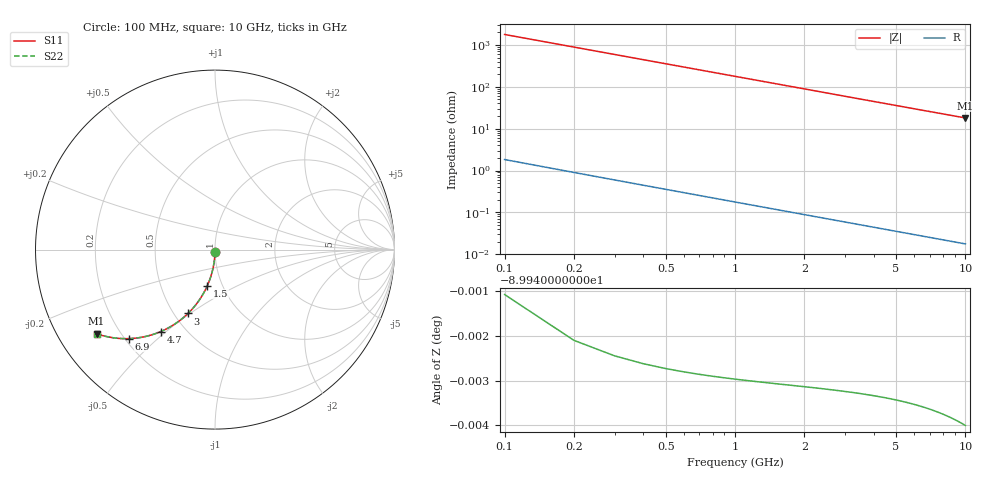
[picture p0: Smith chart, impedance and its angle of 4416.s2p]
# Hz S RI R 50.00
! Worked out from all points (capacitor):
!   100 points, 100 MHz to 10 GHz, reference 50 ohm
!   read as one part in shunt: C = 893 fF near 100 MHz
!   lowest |Z| = 18.1 ohm at 10 GHz (marker M1)
!   S11 on the Smith chart (normalised r, x): 100 MHz: 1.00, -0.03; 1.5 GHz: 0.85, -0.36; 3 GHz: 0.59, -0.49; 4.7 GHz: 0.37, -0.48; 6.9 GHz: 0.21, -0.41; 10 GHz: 0.12, -0.32
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1e8  -0.000198 -0.014  0.9998 -0.0141  0.9998 -0.0141  -0.000198 -0.014
2e8  -0.000802 -0.028  0.9992 -0.0281  0.9992 -0.0281  -0.000802 -0.028
3e8  -0.0018 -0.0419  0.9982 -0.0422  0.9982 -0.0422  -0.0018 -0.0419
4e8  -0.00318 -0.0558  0.9968 -0.0561  0.9968 -0.0561  -0.00318 -0.0558
5e8  -0.00495 -0.0696  0.995 -0.07  0.995 -0.07  -0.00495 -0.0696
6e8  -0.00711 -0.0833  0.9929 -0.0838  0.9929 -0.0838  -0.00711 -0.0833
7e8  -0.00963 -0.0969  0.9903 -0.0976  0.9903 -0.0976  -0.00963 -0.0969
9e8  -0.0158 -0.1238  0.9842 -0.1246  0.9842 -0.1246  -0.0158 -0.1238
1.2e9  -0.0277 -0.1631  0.9723 -0.1641  0.9723 -0.1641  -0.0277 -0.1631
1.5e9  -0.0425 -0.2007  0.9574 -0.202  0.9574 -0.202  -0.0425 -0.2007
1.8e9  -0.06 -0.2363  0.9399 -0.2379  0.9399 -0.2379  -0.06 -0.2363
2.4e9  -0.1018 -0.3008  0.8982 -0.303  0.8982 -0.303  -0.1018 -0.3008
3e9  -0.1502 -0.3555  0.8498 -0.3581  0.8498 -0.3581  -0.1502 -0.3555
3.4e9  -0.1849 -0.3862  0.8151 -0.3892  0.8151 -0.3892  -0.1849 -0.3862
4e9  -0.2386 -0.4239  0.7613 -0.4276  0.7613 -0.4276  -0.2386 -0.4239
4.7e9  -0.3016 -0.4564  0.6983 -0.4606  0.6983 -0.4606  -0.3016 -0.4564
5.1e9  -0.3369 -0.4699  0.663 -0.4745  0.663 -0.4745  -0.3369 -0.4699
5.9e9  -0.4043 -0.4876  0.5956 -0.4929  0.5956 -0.4929  -0.4043 -0.4876
6.7e9  -0.4664 -0.4953  0.5336 -0.5014  0.5336 -0.5014  -0.4664 -0.4953
6.9e9  -0.4809 -0.496  0.519 -0.5023  0.519 -0.5023  -0.4809 -0.496
8.4e9  -0.578 -0.4895  0.422 -0.4972  0.422 -0.4972  -0.578 -0.4895
1e10  -0.6595 -0.4688  0.3405 -0.478  0.3405 -0.478  -0.6595 -0.4688
